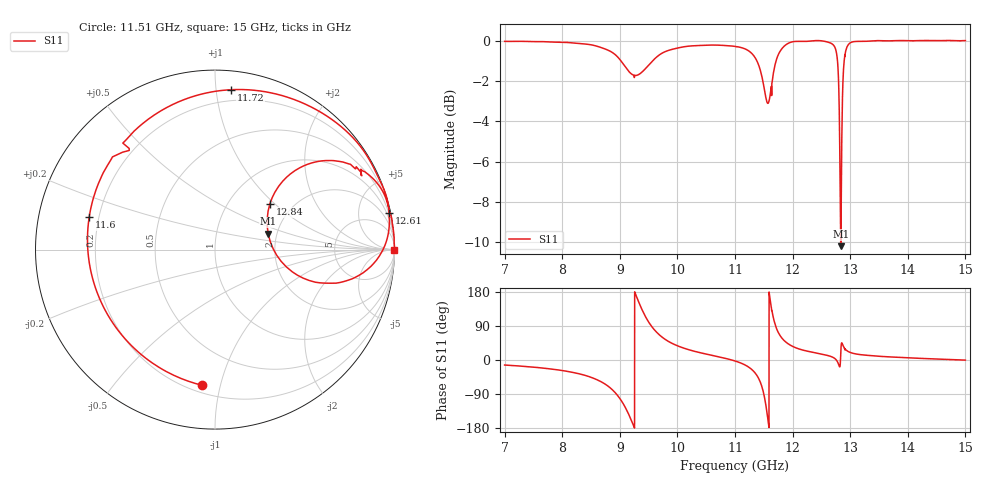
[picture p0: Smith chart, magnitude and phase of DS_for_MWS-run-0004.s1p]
! TOUCHSTONE file generated by CST DESIGN STUDIO
! Date and time: Mon Feb 10 16:45:22 2025
! Project name: C:\Work\MatlabApps\UnitCellType2OptimizationMatlab\CST\unitcell.cst
! Tree item: Tasks\Sweep1\SPara1\S-Parameters
! Header version: 2024
! Port assignment regex: !\s*Touchstone port\s*([0-9]+)\s*=\s*(CST MWS port|CST DES external port|CST DES block port)\s*(.+)\s* \(\"(.*)\"\)(\s*mode\s*([0-9]+))?.*
! Touchstone port assignment:
! Touchstone port 1 = CST DES external port 1 ("")
# GHz S MA R 50
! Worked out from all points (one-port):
!   4001 points, 7 GHz to 15 GHz, reference 50 ohm
!   lowest |S11| = -10.2 dB at 12.84 GHz (marker M1), VSWR 1.90, Z = 89.9 + j17.6 ohm
!   |S11| at or under -10 dB: 12.83322 GHz to 12.8375 GHz (4.286 MHz wide, 0.0334 % of centre)
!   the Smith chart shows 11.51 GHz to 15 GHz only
!   S11 on the Smith chart (normalised r, x): 11.51 GHz: 0.25, -0.88; 11.6 GHz: 0.16, +0.12; 11.72 GHz: 0.12, +1.10; 12.61 GHz: 0.41, +9.62; 12.84 GHz: 1.54, +0.93; 15 GHz: open
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7  0.9952 -13.3
8  0.99 -27.7
8.63  0.9655 -53.9
9  0.8977 -101.5
9.122  0.8502 -133.0
9.25  0.8127 -177.1
9.474  0.8606 106.8
9.712  0.9264 63.1
10  0.9578 37.5
11  0.9671 -2.5
11.346  0.9082 -33.6
11.434  0.8495 -56.4
11.508  0.7593 -95.4
11.564  0.6995 -148.5
11.604  0.7239 165.6
11.658  0.816 117.1
11.718  0.8953 84.3
11.83  0.9605 55.0
12  0.9929 35.9
12.61  0.9913 11.9
12.754  0.9432 0.9
12.798  0.7944 -11.3
12.836  0.3092 16.6
12.844  0.3974 39.7
12.89  0.8739 33.5
13  0.9866 19.9
14  0.9991 5.7
15  0.9997 -0.3
